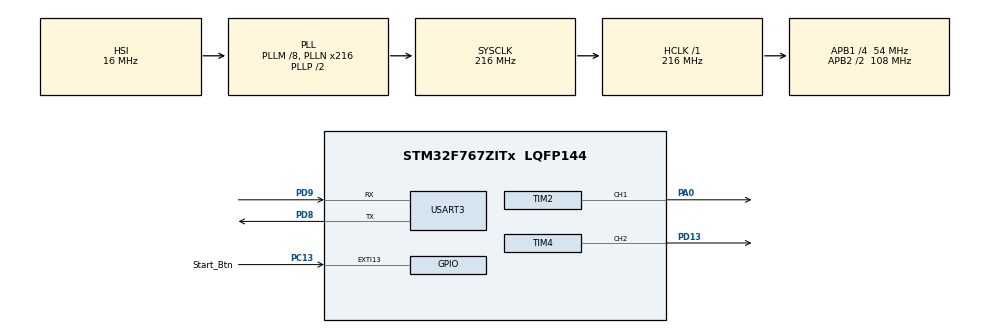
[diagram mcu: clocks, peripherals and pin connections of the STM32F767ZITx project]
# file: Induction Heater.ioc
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Mcu.Family=STM32F7
Mcu.Name=STM32F767ZITx
Mcu.Package=LQFP144
NVIC.EXTI15_10_IRQn=true\:0\:0\:false\:false\:true\:true\:true\:true
NVIC.PriorityGroup=NVIC_PRIORITYGROUP_4
NVIC.TIM2_IRQn=true\:0\:0\:false\:false\:true\:true\:true\:true
NVIC.USART3_IRQn=true\:0\:0\:false\:false\:true\:true\:true\:true
PA0/WKUP.Signal=S_TIM2_CH1_ETR
PC13.GPIO_Label=Start_Btn
PC13.Signal=GPXTI13
PD13.Signal=S_TIM4_CH2
PD8.Mode=Asynchronous
PD8.Signal=USART3_TX
PD9.Mode=Asynchronous
PD9.Signal=USART3_RX
ProjectManager.HeapSize=0x200
ProjectManager.StackSize=0x400
ProjectManager.TargetToolchain=STM32CubeIDE
RCC.48MHZClocksFreq_Value=24000000
RCC.AHBFreq_Value=216000000
RCC.APB1CLKDivider=RCC_HCLK_DIV4
RCC.APB1Freq_Value=54000000
RCC.APB1TimFreq_Value=108000000
RCC.APB2CLKDivider=RCC_HCLK_DIV2
RCC.APB2Freq_Value=108000000
RCC.APB2TimFreq_Value=216000000
RCC.CortexFreq_Value=216000000
RCC.HCLKFreq_Value=216000000
RCC.HSE_VALUE=8000000
RCC.HSI_VALUE=16000000
RCC.LSE_VALUE=32768
RCC.PLLM=8
RCC.PLLMUL=RCC_PLL_MUL9
RCC.PLLN=216
RCC.PLLQ=4
RCC.PRESCALERUSB=RCC_USBCLKSOURCE_PLL_DIV1_5
RCC.SYSCLKFreq_VALUE=216000000
RCC.SYSCLKSource=RCC_SYSCLKSOURCE_PLLCLK
RCC.SYSCLKSourceVirtual=RCC_SYSCLKSOURCE_PLLCLK
RCC.USBFreq_Value=108000000
RCC.VCOOutputFreq_Value=432000000
SH.S_TIM2_CH1_ETR.0=TIM2_CH1,PWM Generation1 CH1
SH.S_TIM4_CH2.0=TIM4_CH2,PWM Generation2 CH2
TIM2.Channel-PWM\ Generation1\ CH1=TIM_CHANNEL_1
TIM2.Period=1000
TIM2.Prescaler=6
TIM2.Pulse-PWM\ Generation1\ CH1=500
TIM4.Channel-PWM\ Generation2\ CH2=TIM_CHANNEL_2
USART3.VirtualMode-Asynchronous=VM_ASYNC
VP_TIM2_VS_ClockSourceINT.Mode=Internal
VP_TIM4_VS_ClockSourceINT.Mode=Internal
board=NUCLEO-F767ZI

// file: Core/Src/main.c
/* USER CODE BEGIN Header */
/**
  ******************************************************************************
  * @file           : main.c
  * @brief          : Main program body
  ******************************************************************************
  * @attention
  *
  * Copyright (c) 2023 STMicroelectronics.
  * All rights reserved.
  *
  * This software is licensed under terms that can be found in the LICENSE file
  * in the root directory of this software component.
  * If no LICENSE file comes with this software, it is provided AS-IS.
  *
  ******************************************************************************
  */
/* USER CODE END Header */
#include "main.h"
#include "tim.h"
#include "usart.h"
#include "gpio.h"

/* USER CODE BEGIN Includes */
#include "function.h"
#include "heater.h"
#include <stdio.h>
#include <stdlib.h>
#include <string.h>
/* USER CODE END Includes */

void SystemClock_Config(void);

/* USER CODE BEGIN 0 */
int __io_putchar(int ch){
	HAL_UART_Transmit(&huart3, (uint8_t *)&ch, 1, HAL_MAX_DELAY);
	return ch;
}
int __io_getchar(void){
	uint8_t ch = 0;
	__HAL_UART_CLEAR_OREFLAG(&huart3);
	HAL_UART_Receive(&huart3, (uint8_t *)&ch, 1, HAL_MAX_DELAY);
	HAL_UART_Transmit(&huart3,(uint8_t *)&ch, 1, HAL_MAX_DELAY);
	return ch;

}
/* USER CODE END 0 */

int main(void)
{

  /* MCU Configuration--------------------------------------------------------*/

  /* Reset of all peripherals, Initializes the Flash interface and the Systick. */
  HAL_Init();

  /* Configure the system clock */
  SystemClock_Config();

  /* Initialize all configured peripherals */
  MX_GPIO_Init();
  MX_USART3_UART_Init();
  MX_TIM2_Init();
  MX_TIM4_Init();
  /* USER CODE BEGIN 2 */
//  HAL_TIM_PWM_Start(&htim2, TIM_CHANNEL_1);
  setvbuf(stdin, NULL, _IONBF, 0);
  HAL_UART_Receive_IT(&huart3, (uint8_t *)&rx_data, 1);
  append_char('>');
  start_tx();
  /* USER CODE END 2 */

  /* Infinite loop */
  while (1)
  {

    /* USER CODE BEGIN 3 */
	  main_function();

  }
  /* USER CODE END 3 */
}

void SystemClock_Config(void)
{
  RCC_OscInitTypeDef RCC_OscInitStruct = {0};
  RCC_ClkInitTypeDef RCC_ClkInitStruct = {0};

  /** Configure the main internal regulator output voltage
  */
  __HAL_RCC_PWR_CLK_ENABLE();
  __HAL_PWR_VOLTAGESCALING_CONFIG(PWR_REGULATOR_VOLTAGE_SCALE1);

  /** Initializes the RCC Oscillators according to the specified parameters
  * in the RCC_OscInitTypeDef structure.
  */
  RCC_OscInitStruct.OscillatorType = RCC_OSCILLATORTYPE_HSI;
  RCC_OscInitStruct.HSIState = RCC_HSI_ON;
  RCC_OscInitStruct.HSICalibrationValue = RCC_HSICALIBRATION_DEFAULT;
  RCC_OscInitStruct.PLL.PLLState = RCC_PLL_ON;
  RCC_OscInitStruct.PLL.PLLSource = RCC_PLLSOURCE_HSI;
  RCC_OscInitStruct.PLL.PLLM = 8;
  RCC_OscInitStruct.PLL.PLLN = 216;
  RCC_OscInitStruct.PLL.PLLP = RCC_PLLP_DIV2;
  RCC_OscInitStruct.PLL.PLLQ = 4;
  RCC_OscInitStruct.PLL.PLLR = 2;
  if (HAL_RCC_OscConfig(&RCC_OscInitStruct) != HAL_OK)
  {
    Error_Handler();
  }

  /** Activate the Over-Drive mode
  */
  if (HAL_PWREx_EnableOverDrive() != HAL_OK)
  {
    Error_Handler();
  }

  /** Initializes the CPU, AHB and APB buses clocks
  */
  RCC_ClkInitStruct.ClockType = RCC_CLOCKTYPE_HCLK|RCC_CLOCKTYPE_SYSCLK
                              |RCC_CLOCKTYPE_PCLK1|RCC_CLOCKTYPE_PCLK2;
  RCC_ClkInitStruct.SYSCLKSource = RCC_SYSCLKSOURCE_PLLCLK;
  RCC_ClkInitStruct.AHBCLKDivider = RCC_SYSCLK_DIV1;
  RCC_ClkInitStruct.APB1CLKDivider = RCC_HCLK_DIV4;
  RCC_ClkInitStruct.APB2CLKDivider = RCC_HCLK_DIV2;

  if (HAL_RCC_ClockConfig(&RCC_ClkInitStruct, FLASH_LATENCY_7) != HAL_OK)
  {
    Error_Handler();
  }
}

void Error_Handler(void)
{
  __disable_irq();
  while (1)
  {
  }
}
